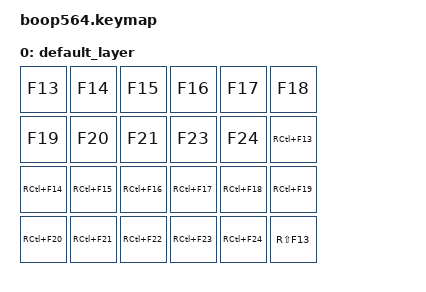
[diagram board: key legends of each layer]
#include <behaviors.dtsi>
#include <dt-bindings/zmk/keys.h>
#include <dt-bindings/zmk/bt.h>

/ {  
    keymap {
        compatible = "zmk,keymap";
        default_layer {
            bindings = <
                &kp F13     &kp F14     &kp F15     &kp F16     &kp F17     &kp F18
                &kp F19     &kp F20     &kp F21     &kp F23     &kp F24     &kp RC(F13)
                &kp RC(F14) &kp RC(F15) &kp RC(F16) &kp RC(F17) &kp RC(F18) &kp RC(F19)
                &kp RC(F20) &kp RC(F21) &kp RC(F22) &kp RC(F23) &kp RC(F24) &kp RS(F13)
            >;
        };
    };
};
